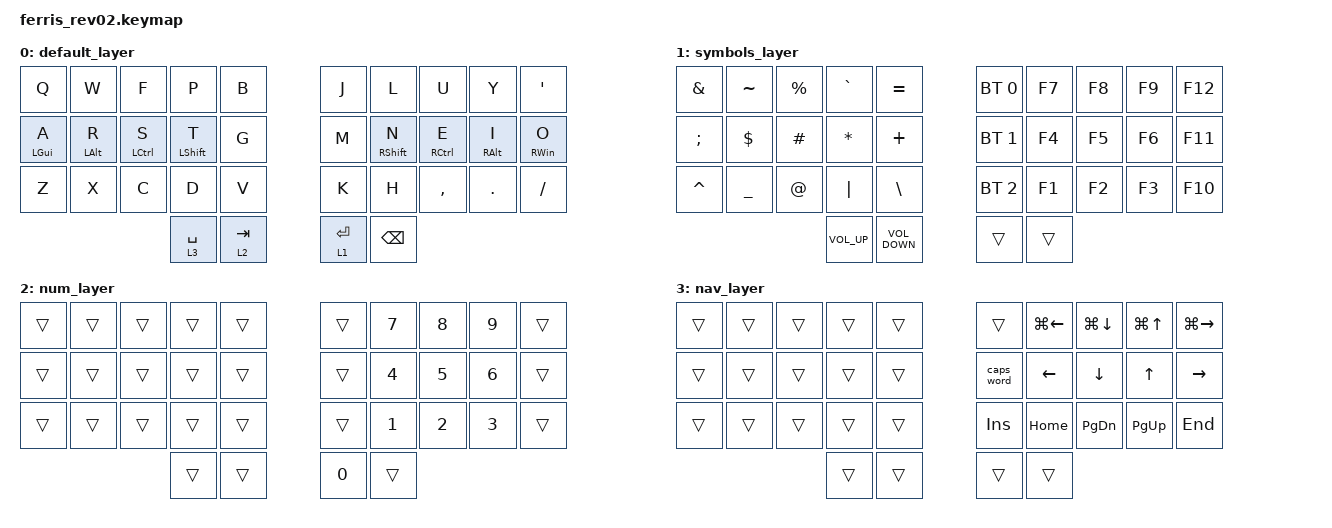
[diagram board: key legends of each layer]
/*
 * Copyright (c) 2020 The ZMK Contributors
 *
 * SPDX-License-Identifier: MIT
 */

#include <behaviors.dtsi>
#include <dt-bindings/zmk/bt.h>
#include <dt-bindings/zmk/keys.h>

&mt {
    quick-tap-ms = <175>;
    require-prior-idle-ms = <150>;
    flavor = "balanced";
};

/ {
    combos {
        compatible = "zmk,combos";

        left_brace {
            bindings = <&kp LEFT_BRACE>;
            key-positions = <2 3>;
        };

        right_brace {
            bindings = <&kp RIGHT_BRACE>;
            key-positions = <4 3>;
        };

        left_parenthesis {
            bindings = <&kp LEFT_PARENTHESIS>;
            key-positions = <14 15>;
        };

        right_parenthesis {
            bindings = <&kp RIGHT_PARENTHESIS>;
            key-positions = <16 15>;
        };

        left_bracket {
            bindings = <&kp LEFT_BRACKET>;
            key-positions = <27 26>;
        };

        right_bracket {
            bindings = <&kp RIGHT_BRACKET>;
            key-positions = <28 27>;
        };

        minus {
            bindings = <&kp MINUS>;
            key-positions = <7 8>;
        };

        equal {
            bindings = <&kp EQUAL>;
            key-positions = <8 9>;
        };

        colon {
            bindings = <&kp COLON>;
            key-positions = <19 20>;
        };

        escape {
            bindings = <&kp ESCAPE>;
            key-positions = <20 21>;
        };

        exclamation {
            bindings = <&kp EXCLAMATION>;
            key-positions = <31 32>;
        };

        delete {
            bindings = <&kp DELETE>;
            key-positions = <32 33>;
        };
    };

    keymap {
        compatible = "zmk,keymap";

        default_layer {
            // -----------------------------------------------------------------------------------------
            // |  TAB |  Q  |  W  |  E  |  R  |  T  |   |  Y  |  U   |  I  |  O  |  P  | BKSP |
            // | CTRL |  A  |  S  |  D  |  F  |  G  |   |  H  |  J   |  K  |  L  |  ;  |  '   |
            // | SHFT |  Z  |  X  |  C  |  V  |  B  |   |  N  |  M   |  ,  |  .  |  /  | ESC  |
            //                    | GUI | LWR | SPC |   | ENT | RSE  | ALT |

            bindings = <
&kp Q           &kp W           &kp F               &kp P             &kp B        &kp J        &kp L              &kp U        &kp Y            &kp SQT
&mt LEFT_GUI A  &mt LEFT_ALT R  &mt LEFT_CONTROL S  &mt LEFT_SHIFT T  &kp G        &kp M        &mt RIGHT_SHIFT N  &mt RCTRL E  &mt RIGHT_ALT I  &mt RIGHT_WIN O
&kp Z           &kp X           &kp C               &kp D             &kp V        &kp K        &kp H              &kp COMMA    &kp DOT          &kp FSLH
                                                    &lt 3 SPACE       &lt 2 TAB    &lt 1 ENTER  &kp BACKSPACE
            >;
        };

        symbols_layer {
            // -----------------------------------------------------------------------------------------
            // |  TAB |  1  |  2  |  3  |  4  |  5  |   |  6  |  7  |  8  |  9  |  0  | BKSP |
            // | BTCLR| BT1 | BT2 | BT3 | BT4 | BT5 |   | LFT | DWN |  UP | RGT |     |      |
            // | SHFT |     |     |     |     |     |   |     |     |     |     |     |      |
            //                    | GUI |     | SPC |   | ENT |     | ALT |

            bindings = <
&kp AMPERSAND  &kp TILDE   &kp PERCENT  &kp GRAVE        &kp EQUAL            &bt BT_SEL 0  &kp F7  &kp F8  &kp F9  &kp F12
&kp SEMI       &kp DOLLAR  &kp HASH     &kp ASTERISK     &kp PLUS             &bt BT_SEL 1  &kp F4  &kp F5  &kp F6  &kp F11
&kp CARET      &kp UNDER   &kp AT_SIGN  &kp PIPE         &kp BACKSLASH        &bt BT_SEL 2  &kp F1  &kp F2  &kp F3  &kp F10
                                        &kp C_VOLUME_UP  &kp C_VOLUME_DOWN    &trans        &trans
            >;
        };

        num_layer {
            // -----------------------------------------------------------------------------------------
            // |  TAB |  !  |  @  |  #  |  $  |  %  |   |  ^  |  &  |  *  |  (  |  )  | BKSP |
            // | CTRL |     |     |     |     |     |   |  -  |  =  |  [  |  ]  |  \  |  `   |
            // | SHFT |     |     |     |     |     |   |  _  |  +  |  {  |  }  | "|" |  ~   |
            //                    | GUI |     | SPC |   | ENT |     | ALT |

            bindings = <
&trans  &trans  &trans  &trans  &trans    &trans  &kp NUMBER_7  &kp NUMBER_8  &kp NUMBER_9  &trans
&trans  &trans  &trans  &trans  &trans    &trans  &kp NUMBER_4  &kp NUMBER_5  &kp NUMBER_6  &trans
&trans  &trans  &trans  &trans  &trans    &trans  &kp NUMBER_1  &kp NUMBER_2  &kp NUMBER_3  &trans
                                &trans  &trans    &kp N0  &trans
            >;
        };

        nav_layer {
            bindings = <
&trans  &trans  &trans  &trans  &trans    &trans      &kp LG(LEFT)    &kp LG(DOWN_ARROW)  &kp LG(UP_ARROW)  &kp LG(RIGHT)
&trans  &trans  &trans  &trans  &trans    &caps_word  &kp LEFT_ARROW  &kp DOWN_ARROW      &kp UP_ARROW      &kp RIGHT
&trans  &trans  &trans  &trans  &trans    &kp INSERT  &kp HOME        &kp PAGE_DOWN       &kp PAGE_UP       &kp END
                              &trans  &trans    &trans      &trans
            >;
        };
    };
};
